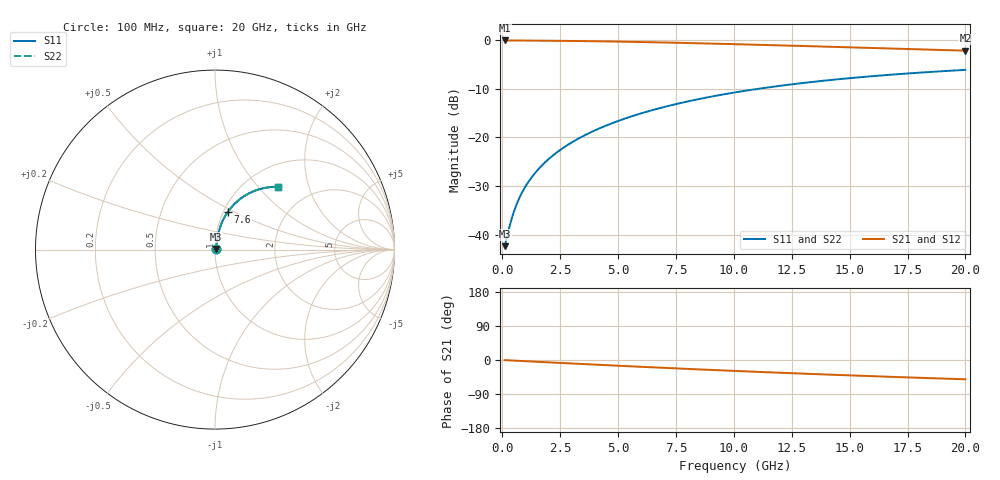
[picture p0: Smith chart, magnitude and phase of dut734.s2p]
! Touchstone file exported from HFSS 2024.1.0
!  File:  C:/UserFiles/LocalFiles/RDL_TSV_Batchsim/temp_RDL_top_734_1779851165.aedt
!  Generated:  11:08:49 AM May 27, 2026
!  Design:  RDL_top
!  Project:  temp_RDL_top_734_1779851165
!  Setup:  Setup1
!  Solution:  Sweep
! Variables:
!  dtsv = 10.80580581um
!  hbump = 3um
!  htsv = 64.75um
!  ldown = 100um
!  lrdl = 684.54um
!  p = 40
!  p1 = 51.71um
!  rhole = 1um
!  t = 450um
!  tdown = 3.915915916um
!  trdl = 2.04um
!  wdown = 15.38538539um
!  wrdl = 17.6um
# GHz S MA R 50.000000
! Terminal data exported
! Port[1] = Box2_T1
! Port[2] = Box2_T2
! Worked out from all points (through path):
!   200 points, 100 MHz to 20 GHz, reference 50 ohm
!   highest |S21| = -0.06 dB at 100 MHz (marker M1); lowest = -2.2 dB at 20 GHz (marker M2)
!   group delay of S21, straight-line fit = 7.06 ps
!   lowest |S11| = -42.3 dB at 100 MHz (marker M3), VSWR 1.02, Z = 50.7 + j0.319 ohm
!   |S11| at or under -10 dB: start of sweep to 11.05 GHz
!   |S22| runs from -42.3 to -6.1 dB; largest |S21 - S12| = 6.2e-15
!   S11 on the Smith chart (normalised r, x): 100 MHz: 1.01, +0.01; 7.6 GHz: 1.05, +0.47; 20 GHz: 1.39, +1.29
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0.1  0.007631 24.4  0.993 -0.3  0.993 -0.3  0.007631 24.4
! Gamma 0 0 0 0
! Port Impedance 50 0 50 0
0.3  0.01184 52.2  0.9927 -1.0  0.9927 -1.0  0.01184 52.2
0.4  0.01449 58.9  0.9925 -1.3  0.9925 -1.3  0.01449 58.9
0.6  0.02003 66.4  0.992 -1.9  0.992 -1.9  0.02003 66.4
0.7  0.02285 68.7  0.9917 -2.2  0.9917 -2.2  0.02285 68.7
0.9  0.02849 71.8  0.9911 -2.8  0.9911 -2.8  0.02849 71.8
1.2  0.03699 74.6  0.9901 -3.8  0.9901 -3.8  0.03699 74.6
1.4  0.04268 75.8  0.9894 -4.4  0.9894 -4.4  0.04268 75.8
1.7  0.05126 77.0  0.9883 -5.3  0.9883 -5.3  0.05126 77.0
2.2  0.06566 78.0  0.9861 -6.8  0.9861 -6.8  0.06566 78.0
2.8  0.08309 78.3  0.9829 -8.6  0.9829 -8.6  0.08309 78.3
3.5  0.1036 78.0  0.9785 -10.7  0.9785 -10.7  0.1036 78.0
4.2  0.1241 77.3  0.9733 -12.8  0.9733 -12.8  0.1241 77.3
5  0.1477 76.1  0.9665 -15.1  0.9665 -15.1  0.1477 76.1
5.9  0.1741 74.6  0.9579 -17.7  0.9579 -17.7  0.174 74.6
6.8  0.2002 72.8  0.9485 -20.2  0.9485 -20.2  0.2002 72.8
7.6  0.2231 71.2  0.9395 -22.4  0.9395 -22.4  0.2231 71.1
10.1  0.2917 65.6  0.9089 -29.0  0.9089 -29.0  0.2916 65.6
11.7  0.3323 62.0  0.888 -33.0  0.888 -33.0  0.3322 62.0
13.4  0.3723 58.2  0.8654 -37.0  0.8654 -37.0  0.3722 58.2
16.7  0.4401 51.3  0.8216 -44.3  0.8216 -44.3  0.4399 51.2
20  0.4953 44.9  0.78 -50.9  0.78 -50.9  0.4951 44.8
